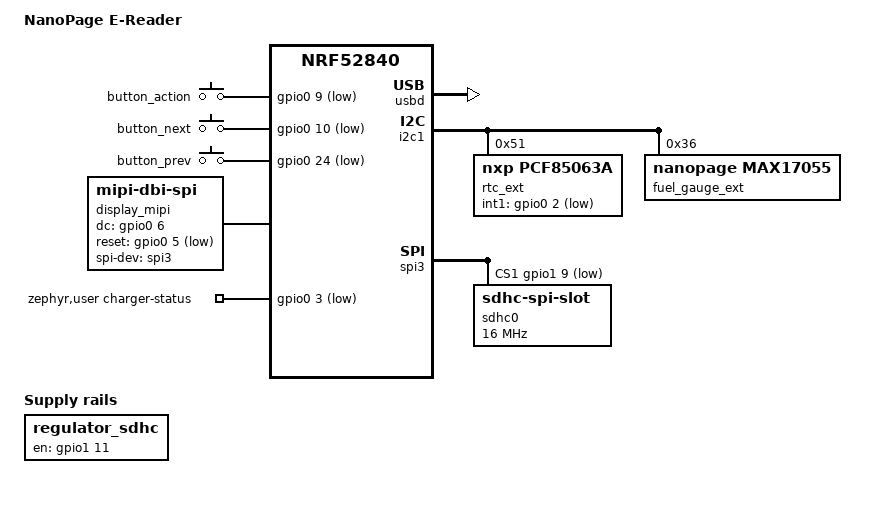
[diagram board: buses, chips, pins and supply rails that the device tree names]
/*
 * SPDX-License-Identifier: Apache-2.0
 *
 * Pin assignments below come from the module pinout table in the
 * project README (E73-2G4M08S1C, U8 in the schematic). Signals that
 * belong to a driver which hasn't been added yet (fuel gauge, SD card
 * detect, charger/USB status lines) are left unwired here on purpose -
 * see the comment block at the bottom.
 */

/dts-v1/;
#include <nordic/nrf52840_qiaa.dtsi>
#include "nanopage-pinctrl.dtsi"
#include <zephyr/dt-bindings/input/input-event-codes.h>

/ {
	model = "NanoPage E-Reader";
	compatible = "nanopage,nanopage";

	chosen {
		zephyr,sram = &sram0;
		zephyr,flash = &flash0;
		zephyr,code-partition = &slot0_partition;
		zephyr,settings-partition = &settings_partition;
		zephyr,display = &epd_panel;
	};

	buttons_input: buttons {
		compatible = "gpio-keys";

		/* P0.09/NFC1 - needs &uicr nfct-pins-as-gpios below to read as GPIO */
		button_action: button_action {
			gpios = <&gpio0 9 (GPIO_PULL_UP | GPIO_ACTIVE_LOW)>;
			zephyr,code = <INPUT_KEY_ENTER>;
		};

		/* P0.10/NFC2 - needs &uicr nfct-pins-as-gpios below to read as GPIO */
		button_next: button_next {
			gpios = <&gpio0 10 (GPIO_PULL_UP | GPIO_ACTIVE_LOW)>;
			zephyr,code = <INPUT_KEY_RIGHT>;
		};

		button_prev: button_prev {
			gpios = <&gpio0 24 (GPIO_PULL_UP | GPIO_ACTIVE_LOW)>;
			zephyr,code = <INPUT_KEY_LEFT>;
		};
	};

	/*
	 * Long-press detection for the Action button only, via Zephyr's
	 * in-tree zephyr,input-longpress pseudo-device (subsys/input/
	 * input_longpress.c) - reused instead of hand-rolled hold-timing
	 * logic in buttons.c. Watches buttons_input for INPUT_KEY_ENTER and,
	 * on release, re-emits either the same code (short press, < 500ms -
	 * this is what buttons.c now treats as the real "Action" press
	 * everywhere, not the raw buttons_input event, so every screen's
	 * Action handling now fires on release rather than on press - see
	 * buttons.c) or INPUT_KEY_MENU (held >= 500ms), which reader.c uses
	 * to open the in-book menu (Table of Contents/Bookmarks) - see
	 * reader_menu.h. Prev/Next are not wrapped by this node so paging
	 * stays instant; see nav_longpress below. CONFIG_INPUT_LONGPRESS is enabled automatically
	 * (default y, gated on this node existing - see subsys/input/Kconfig).
	 */
	action_longpress: longpress {
		compatible = "zephyr,input-longpress";
		input = <&buttons_input>;
		input-codes = <INPUT_KEY_ENTER>;
		short-codes = <INPUT_KEY_ENTER>;
		long-codes = <INPUT_KEY_MENU>;
		long-delay-ms = <500>;
	};

	/*
	 * Prev/Next hold detection. Only matters while a screen registers a
	 * hold callback (app_buttons_set_hold_callback); buttons.c ignores
	 * this node's events otherwise, so Prev/Next stay instant on the raw
	 * buttons_input event. PAGEUP = hold Prev, PAGEDOWN = hold Next.
	 */
	nav_longpress: longpress-nav {
		compatible = "zephyr,input-longpress";
		input = <&buttons_input>;
		input-codes = <INPUT_KEY_LEFT INPUT_KEY_RIGHT>;
		short-codes = <INPUT_KEY_LEFT INPUT_KEY_RIGHT>;
		long-codes = <INPUT_KEY_PAGEUP INPUT_KEY_PAGEDOWN>;
		long-delay-ms = <500>;
	};

	/* microSD load switch enable, P1.11 */
	regulator_sdhc: regulator-sdhc-pwr {
		compatible = "regulator-fixed";
		regulator-name = "sdhc-pwr";
		enable-gpios = <&gpio1 11 GPIO_ACTIVE_HIGH>;
		regulator-boot-off;
	};

	/*
	 * GDEY029T94 e-paper panel (128x296, SSD1680 controller) on spi3,
	 * CS index 0 there (see cs-gpios on &spi3 below). Zephyr's in-tree
	 * SSD16XX driver talks to it over the generic MIPI DBI Mode C
	 * (4-wire SPI) bridge, so the actual SPI bus is wrapped in a
	 * zephyr,mipi-dbi-spi node that owns the DC/reset lines; reg = <0>
	 * on the panel node below selects cs-gpios[0] on spi3 through
	 * that wrapper.
	 */
	display_mipi: display-mipi {
		compatible = "zephyr,mipi-dbi-spi";
		spi-dev = <&spi3>;
		dc-gpios = <&gpio0 6 GPIO_ACTIVE_HIGH>;		/* P0.06 */
		reset-gpios = <&gpio0 5 GPIO_ACTIVE_LOW>;	/* P0.05 */
		#address-cells = <1>;
		#size-cells = <0>;

		epd_panel: ssd1680@0 {
			compatible = "solomon,ssd1680";
			reg = <0>;
			mipi-max-frequency = <4000000>;
			/*
			 * In this driver "width" is the gate-line count
			 * (SSD1680 max 296) and "height" is the source-line
			 * count (max 176) - not screen columns/rows. Panel
			 * is 296(H, gate) x 128(V, source) per the GDEY029T94
			 * datasheet.
			 */
			width = <296>;
			height = <128>;
			/*
			 * 180 degrees so the panel reads right-side up for how
			 * the device is actually held - the natural mounting
			 * orientation is upside down relative to the driver's
			 * default. ROTATED_180 stays on the same code path as
			 * NORMAL in ssd16xx.c (x/y resolution and the vtiled
			 * buffer layout are unchanged, just the RAM scan
			 * direction flips) - unlike 90/270, which would swap
			 * width/height and drop the vtiled layout text.c
			 * depends on.
			 */
			rotation = <180>;
			busy-gpios = <&gpio0 8 GPIO_ACTIVE_HIGH>;	/* P0.08 */

			/*
			 * Enables the SSD1680's faster/partial ("Mode 2")
			 * waveform. Empty on purpose: this chip's OTP
			 * already stores both the full and Mode 2 waveforms,
			 * selected purely via an UPDATE_CTRL2 register bit
			 * (see quirks_solomon_ssd1680.ctrl2_partial in
			 * ssd16xx.c) - no custom LUT bytes needed. Presence
			 * of this node is what the driver checks, per its
			 * SSD16XX_DEFINE()/DT_CHILD(n, partial) macro.
			 */
			partial {
			};
		};
	};

	aliases {
		sw-action = &button_action;
		sw-next = &button_next;
		sw-prev = &button_prev;
		rtc0 = &rtc_ext;
	};

	/*
	 * BQ25170 STAT output, P0.03 - open-drain, pulled up externally
	 * (R8, 10k to +3V3 per the schematic), so no internal pull is
	 * configured here. No dedicated driver/binding for this - a plain
	 * zephyr,user property is the standard way to hand app code a raw
	 * GPIO it configures/reads itself (see charger.c).
	 */
	zephyr,user {
		charger-status-gpios = <&gpio0 3 GPIO_ACTIVE_LOW>;
	};
};

/* Externally regulated 3.3V feeds both VDD and VDDH - REG0 (VDDH->VDD
 * boost path) isn't in the power path, so it's left disabled (SoC
 * default). REG1 in DC/DC mode is the standard efficiency win.
 *
 * Tested LDO vs DCDC directly (2026-09-11) while chasing an unexplained
 * ~1-3mA idle current shown by the fuel gauge: no measurable difference
 * either way, so DCDC is not implicated and stays on for its real
 * benefit during active/refresh periods. See project memory for the
 * full current-draw investigation and what's still open.
 */
&reg1 {
	regulator-initial-mode = <NRF5X_REG_MODE_DCDC>;
};

&uicr {
	/* No NFC antenna on this board - P0.09/P0.10 are Action/Next buttons */
	nfct-pins-as-gpios;
	/* P0.18 is the dedicated reset button pin */
	gpio-as-nreset;
};

&gpiote {
	status = "okay";
};

&gpio0 {
	status = "okay";
};

&gpio1 {
	status = "okay";
};

/*
 * Native USB device peripheral - VBUS/D+/D- are wired directly to it (see
 * the README pinout table), used by usb_msc.c for the USB Mass Storage
 * file-browser feature. zephyr_udc0 is the node label Zephyr's USB device
 * stack looks up by name (DT_NODELABEL(zephyr_udc0)), same convention
 * every in-tree nRF52840 board uses (e.g. nrf52840dk_nrf52840.dts).
 */
zephyr_udc0: &usbd {
	status = "okay";
};

/* RTC (PCF85063) + fuel gauge (MAX17055) */
&i2c1 {
	compatible = "nordic,nrf-twim";
	status = "okay";
	pinctrl-0 = <&i2c1_default>;
	pinctrl-1 = <&i2c1_sleep>;
	pinctrl-names = "default", "sleep";

	/*
	 * PCF85063 RTC, fixed I2C address 0x51. Zephyr's in-tree
	 * nxp,pcf85063a binding/driver is used as-is (same register
	 * map as the plain PCF85063 on this board).
	 */
	rtc_ext: rtc@51 {
		compatible = "nxp,pcf85063a";
		reg = <0x51>;
		int1-gpios = <&gpio0 2 GPIO_ACTIVE_LOW>;
	};

	/*
	 * MAX17055, fixed I2C address 0x36. compatible = "nanopage,max17055"
	 * (own from-scratch driver, src/max17055.c) rather than upstream's
	 * "maxim,max17055" - see the top-of-file comment there for why.
	 * rsense-mohms/i-chg-term come from the schematic (R11 = 10m sense
	 * resistor; R7 = 1k on ISET -> 300mA per the BQ25170's printed
	 * I_CHG = 300AOhms/R_ISET formula, i-chg-term uses the conventional
	 * C/10 termination current). design-voltage/desired-voltage = 4200mV
	 * matches the charger's VSET resistor (R6 = 27k -> 4.20V per the
	 * schematic's printed VSET table). v-empty/v-recover = 3300mV/3880mV
	 * matches the guide's own worked example (Section "MAX17055 INI File
	 * Format", VEmpty = 0xa561 decodes to exactly these two values).
	 */
	fuel_gauge_ext: fuel-gauge@36 {
		compatible = "nanopage,max17055";
		reg = <0x36>;
		rsense-mohms = <10>;
		design-capacity = <320>;
		design-voltage = <4200>;
		desired-voltage = <4200>;
		desired-charging-current = <300>;
		i-chg-term = <32>;
		v-empty = <3300>;
		v-recover = <3880>;
	};
};

/* E-paper panel (SSD1680) + microSD card, own CS line each */
&spi3 {
	compatible = "nordic,nrf-spim";
	status = "okay";
	cs-gpios = <&gpio0 26 GPIO_ACTIVE_LOW>,	/* display CS, P0.26 */
		   <&gpio1 9 GPIO_ACTIVE_LOW>;		/* SD card CS, P1.09 */
	pinctrl-0 = <&spi3_default>;
	pinctrl-1 = <&spi3_sleep>;
	pinctrl-names = "default", "sleep";

	/*
	 * microSD card, SD-over-SPI (zephyr,sdhc-spi-slot -> the SD
	 * subsystem -> zephyr,sdmmc-disk for the disk_access/fs_mount
	 * API), reg = <1> selects cs-gpios[1] above (P1.09). The card's
	 * own load switch (regulator_sdhc, P1.11) is a separate
	 * regulator-fixed node, not this binding's pwr-gpios - sd.c
	 * enables/times it explicitly rather than letting this driver
	 * toggle it around every init, per the app-level sequencing this
	 * board's known power/display interaction needs (see sd.c).
	 * Raised from the original 4MHz first-bring-up value to 16MHz
	 * 2026-09-18, chasing a USB Mass Storage (usb_msc.c) directory
	 * listing that was still very slow to enumerate on a real host even
	 * after fixing the spi3 PM refcounting bug (display.c) and batching
	 * MSC's own reads (CONFIG_USBD_MSC_SCSI_BUFFER_SIZE in prj.conf) -
	 * 4MHz's own raw throughput ceiling (~500KB/s best-case, worse in
	 * practice with per-command overhead) was the next suspect. This is
	 * a real, independent SPI transaction config specific to this node -
	 * not shared with the display's own (still-4MHz) spi-max-frequency,
	 * so this doesn't touch the display's timing at all. 16MHz leaves
	 * real margin under the SD-over-SPI standard-speed ceiling (25MHz)
	 * rather than jumping straight to it, given the bus/traces
	 * themselves have never been verified above 4MHz for either
	 * peripheral sharing them - the driver itself still negotiates up
	 * from 400kHz during card init regardless of this ceiling. Needs
	 * on-hardware verification (no read/write/CRC errors, and does it
	 * actually fix the slow-listing symptom) - raise further, or back
	 * off, based on that.
	 */
	sdhc0: sdhc@1 {
		compatible = "zephyr,sdhc-spi-slot";
		reg = <1>;
		status = "okay";
		spi-max-frequency = <16000000>;

		mmc {
			compatible = "zephyr,sdmmc-disk";
			disk-name = "SD";
			status = "okay";
		};
	};
};

&flash0 {
	partitions {
		compatible = "fixed-partitions";
		#address-cells = <1>;
		#size-cells = <1>;

		/*
		 * No bootloader yet (flashed directly over SWD per the
		 * firmware architecture decision in .claude/CLAUDE.md), so
		 * the app image starts at 0x0. Still named slot0/image-0
		 * so adding MCUboot later (for OTA/DFU) is a partition
		 * resize, not a rename.
		 */
		slot0_partition: partition@0 {
			label = "image-0";
			reg = <0x00000000 DT_SIZE_K(976)>;
		};

		/* Zephyr settings subsystem (NVS backend): BLE bonding keys.
		 * Separate from storage_partition because settings and
		 * fuel_gauge.c's raw NVS use would otherwise fight over the
		 * same sectors. Carved out of the app image area rather than
		 * out of storage_partition: shrinking that one made the fuel
		 * gauge's existing NVS state fail to mount.
		 */
		settings_partition: partition@f4000 {
			label = "settings";
			reg = <0x000f4000 DT_SIZE_K(16)>;
		};

		/* Fuel gauge learned parameters (raw NVS, fuel_gauge.c). */
		storage_partition: partition@f8000 {
			label = "storage";
			reg = <0x000f8000 DT_SIZE_K(32)>;
		};
	};
};

/*
 * Pins not yet wired to a devicetree node - each belongs to a driver
 * that hasn't been added to the board file yet:
 *
 *   P0.12  SD card detect        - card-detect switch
 *   P0.17  USB detect            - VBUS sense, separate from the native USBD peripheral
 *   P0.13  fuel gauge alert      - MAX17055 alert-gpios
 *   P1.00  charger power-good    - BQ25170 PG output
 *
 * P0.03 (charger status) is wired above (zephyr,user) - see charger.c.
 *
 * P0.15, P0.20, P0.22, P0.04, P0.07, P1.02, P1.04, P1.06, P1.10 are NC
 * per the schematic and intentionally left out.
 */
